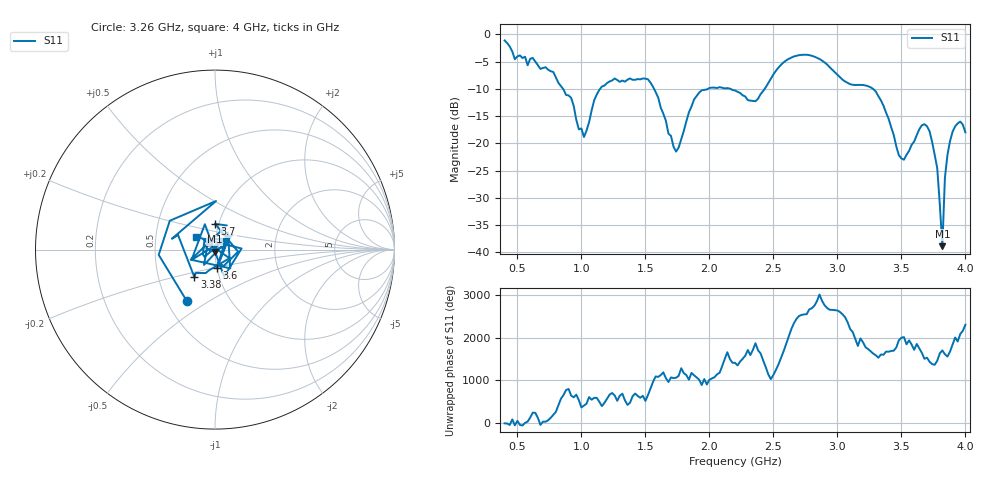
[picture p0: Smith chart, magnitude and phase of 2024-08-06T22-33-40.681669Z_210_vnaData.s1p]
!Created with skrf (http://scikit-rf.org).
# Hz S RI R 50.0
!freq ReS11 ImS11
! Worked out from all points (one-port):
!   181 points, 400 MHz to 4 GHz, reference 50 ohm
!   lowest |S11| = -38.9 dB at 3.82 GHz (marker M1), VSWR 1.02, Z = 49.8 - j1.12 ohm
!   |S11| at or under -10 dB: 856.3 MHz to 1.146 GHz (290.1 MHz wide, 29 % of centre); 1.567 GHz to 1.989 GHz (421.8 MHz wide, 23.7 % of centre); 3.278 GHz to end of sweep (the widest 3 of 4)
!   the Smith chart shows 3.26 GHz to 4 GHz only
!   S11 on the Smith chart (normalised r, x): 3.26 GHz: 0.63, -0.40; 3.38 GHz: 0.76, -0.24; 3.6 GHz: 1.00, -0.21; 3.7 GHz: 0.96, +0.28; 4 GHz: 0.80, +0.11
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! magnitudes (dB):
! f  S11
! 400 MHz  -1.1
! 480 MHz  -4.6
! 620 MHz  -4.3
! 860 MHz  -10.1
! 1.02 GHz  -18.8
! 1.14 GHz  -10.2
! 1.3 GHz  -8.7
! 1.52 GHz  -8.3
! 1.72 GHz  -20.6
! 1.76 GHz  -20.8
! 1.92 GHz  -10.7
! 2.2 GHz  -10.3
! 2.36 GHz  -12.3
! 2.66 GHz  -4.1
! 2.86 GHz  -4.5
! 3.1 GHz  -9.2
! 3.26 GHz  -9.7
! 3.38 GHz  -14.4
! 3.48 GHz  -22.2
! 3.56 GHz  -21.4
! 3.6 GHz  -19.7
! 3.7 GHz  -16.9
! 3.78 GHz  -24.6
! 3.82 GHz  -38.9
! 3.84 GHz  -26.3
! 3.88 GHz  -19.6
! 3.96 GHz  -16.0
! 4 GHz  -18.0
